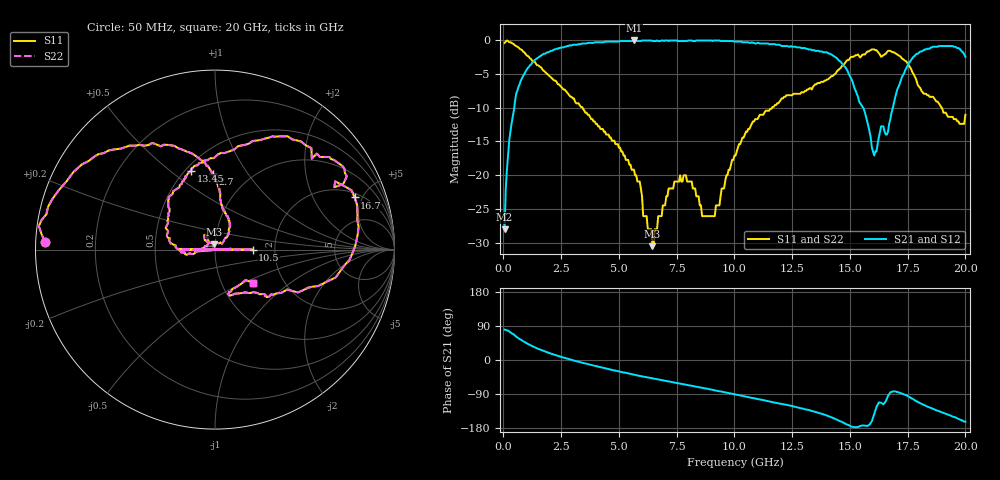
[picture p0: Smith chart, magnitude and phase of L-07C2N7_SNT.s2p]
# MHZ S MA R 50
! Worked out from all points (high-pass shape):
!   400 points, 50 MHz to 20 GHz, reference 50 ohm
!   highest |S21| = -0.09 dB at 5.65 GHz (marker M1); lowest = -28.0 dB at 50 MHz (marker M2)
!   |S21| within 3 dB of the highest: 1.327 GHz to 14.55 GHz (13.22 GHz wide, 167 % of centre); 17.63 GHz to end of sweep
!   lowest |S11| = -30.5 dB at 6.45 GHz (marker M3), VSWR 1.06, Z = 49.5 + j2.95 ohm
!   |S11| at or under -10 dB: 3.419 GHz to 11.63 GHz (8.213 GHz wide, 109 % of centre); 18.97 GHz to end of sweep
!   |S22| runs from -30.5 to -0.1 dB; largest |S21 - S12| = 0
!   S11 on the Smith chart (normalised r, x): 50 MHz: 0.03, +0.02; 2.7 GHz: 0.69, +0.70; 10.5 GHz: 1.53, -0.00; 13.45 GHz: 0.53, +0.60; 16.7 GHz: 2.32, +4.34; 20 GHz: 1.41, -0.56
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50  0.95 177.3  0.04 80.3  0.04 80.3  0.95 177.3
250  0.96 168.2  0.18 75.5  0.18 75.5  0.96 168.2
650  0.88 147.3  0.45 57.4  0.45 57.4  0.88 147.3
2700  0.42 91.3  0.89 4.8  0.89 4.8  0.42 91.3
3400  0.32 84.9  0.94 -7.0  0.94 -7.0  0.32 84.9
5650  0.11 48.4  0.99 -38.8  0.99 -38.8  0.11 48.4
6450  0.03 97.8  0.98 -48.5  0.98 -48.5  0.03 97.8
6700  0.05 126.3  0.98 -51.4  0.98 -51.4  0.05 126.3
7800  0.1 125.1  0.98 -64.1  0.98 -64.1  0.1 125.1
9150  0.05 157.2  0.99 -80.0  0.99 -80.0  0.05 157.2
10050  0.14 -172.3  0.97 -91.0  0.97 -91.0  0.14 -172.3
10450  0.2 -179.0  0.96 -96.1  0.96 -96.1  0.2 -179.0
10500  0.21 -0.1  0.96 -96.8  0.96 -96.8  0.21 -0.1
10550  0.21 178.9  0.96 -97.5  0.96 -97.5  0.21 178.9
10800  0.25 172.1  0.95 -100.4  0.95 -100.4  0.25 172.1
13350  0.43 112.8  0.84 -134.6  0.84 -134.6  0.43 112.8
13450  0.46 106.8  0.84 -136.0  0.84 -136.0  0.46 106.8
15150  0.75 54.9  0.47 -176.8  0.47 -176.8  0.75 54.9
16050  0.85 31.9  0.14 -143.6  0.14 -143.6  0.85 31.9
16700  0.83 20.5  0.24 -90.0  0.24 -90.0  0.83 20.5
18000  0.45 -31.1  0.81 -112.5  0.81 -112.5  0.45 -31.1
20000  0.28 -40.9  0.75 -162.9  0.75 -162.9  0.28 -40.9
